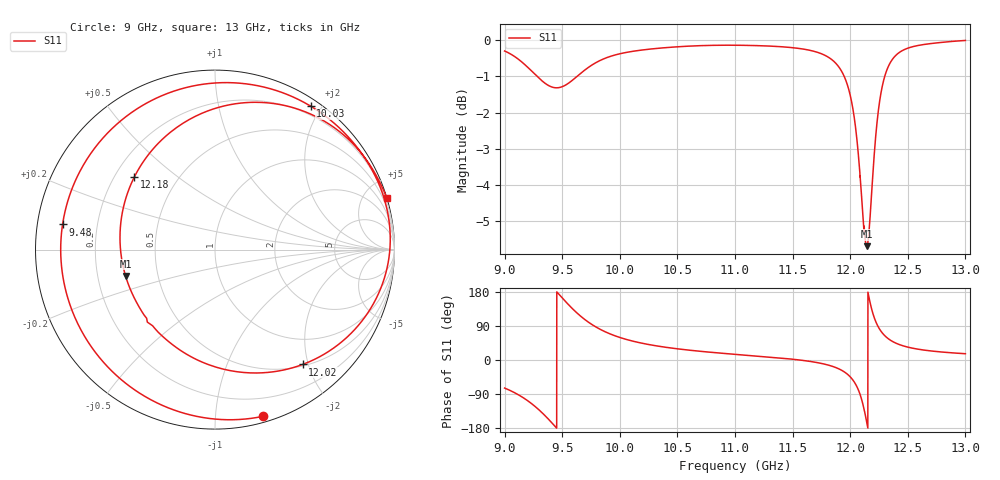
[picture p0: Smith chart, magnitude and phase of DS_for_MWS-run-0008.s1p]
! TOUCHSTONE file generated by CST DESIGN STUDIO
! Date and time: Tue Feb  4 13:55:47 2025
! Project name: C:\Work\MatlabApps\UnitCellOptimizationMatlab\CST\unitcell.cst
! Tree item: Tasks\Sweep1\SPara1\S-Parameters
! Header version: 2024
! Port assignment regex: !\s*Touchstone port\s*([0-9]+)\s*=\s*(CST MWS port|CST DES external port|CST DES block port)\s*(.+)\s* \(\"(.*)\"\)(\s*mode\s*([0-9]+))?.*
! Touchstone port assignment:
! Touchstone port 1 = CST DES external port 1 ("")
# GHz S MA R 50
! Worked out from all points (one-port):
!   4001 points, 9 GHz to 13 GHz, reference 50 ohm
!   lowest |S11| = -5.7 dB at 12.14 GHz (marker M1), VSWR 3.16, Z = 16.1 - j6.49 ohm
!   |S11| at or under -10 dB: nowhere
!   S11 on the Smith chart (normalised r, x): 9 GHz: 0.05, -1.33; 9.48 GHz: 0.08, +0.08; 10.03 GHz: 0.09, +1.86; 12.02 GHz: 0.52, -1.91; 12.18 GHz: 0.28, +0.36; 13 GHz: 0.01, +6.88
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9  0.9665 -74.0
9.143  0.9351 -96.0
9.254  0.9005 -119.9
9.382  0.8659 -156.6
9.48  0.8608 170.6
9.5  0.8627 163.9
9.605  0.885 130.7
9.705  0.9119 104.8
9.85  0.9412 77.8
10  0.958 59.5
10.033  0.9605 56.4
10.233  0.9712 41.8
10.5  0.9795 29.5
11  0.9844 15.0
11.5  0.9767 2.1
11.847  0.9385 -16.9
11.936  0.8997 -28.9
12  0.8398 -44.4
12.023  0.8049 -52.7
12.089  0.6398 -93.8
12.115  0.561 -123.1
12.143  0.5195 -163.6
12.183  0.604 138.2
12.22  0.7325 102.7
12.264  0.8401 77.3
12.358  0.937 50.5
12.5  0.9752 34.0
13  0.9994 16.6
